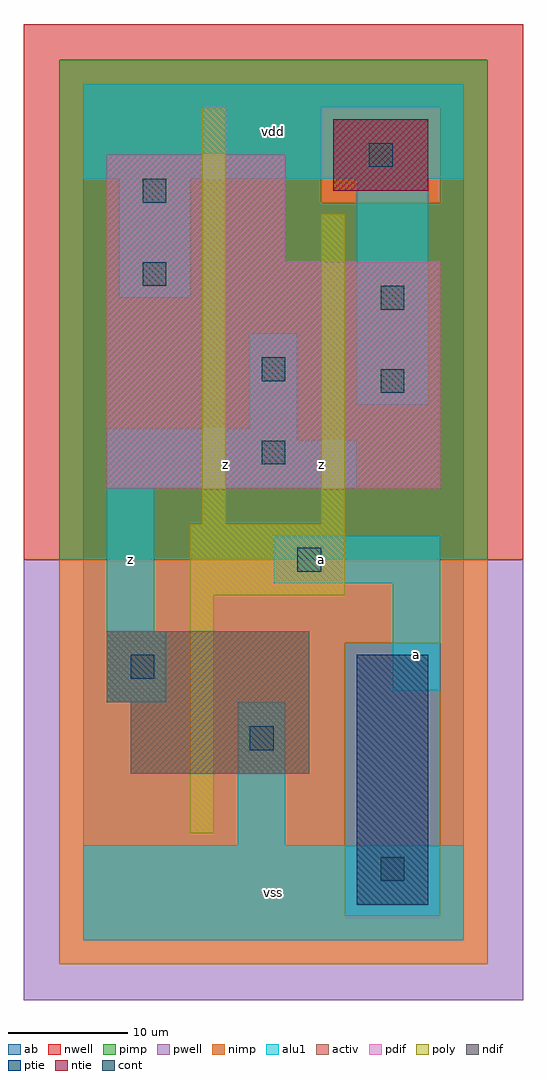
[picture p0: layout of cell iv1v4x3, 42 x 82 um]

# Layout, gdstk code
import gdstk
lib = gdstk.Library(unit=1e-6, precision=1e-09)
def R(c, l, rs):  # rectangles x0, y0, x1, y1
    for r in rs: c.add(gdstk.rectangle(r[:2], r[2:], *l))
ndif = (3, 0)
pdif = (4, 0)
ntie = (5, 0)
ptie = (6, 0)
cont = (25, 0)
pwell = (41, 0)
nwell = (42, 0)
activ = (43, 0)
pimp = (44, 0)
nimp = (45, 0)
poly = (46, 0)
alu1 = (49, 0)
ab = (63, 0)

iv1v4x3 = lib.new_cell('iv1v4x3')
R(iv1v4x3, ndif, [(4,14,19,20), (2,20,19,26)])
R(iv1v4x3, pdif, [(2,38,30,57), (2,57,17,66)])
R(iv1v4x3, ntie, [(21,63,29,69)])
R(iv1v4x3, ptie, [(23,3,29,24)])
R(iv1v4x3, cont, [(25,5,27,7), (14,16,16,18), (4,22,6,24), (18,31,20,33), (15,40,17,42), (25,46,27,48), (15,47,17,49), (25,53,27,55), (5,55,7,57), (5,62,7,64), (24,65,26,67)])
R(iv1v4x3, pwell, [(-5,-5,37,32)])
R(iv1v4x3, nwell, [(-5,32,37,77)])
R(iv1v4x3, activ, [(23,3,29,24), (4,14,19,20), (2,20,19,26), (2,38,30,57), (2,57,17,66), (21,63,29,69)])
R(iv1v4x3, pimp, [(22,2,30,25), (-2,32,34,62), (-2,62,20,70), (30,62,34,70), (-2,70,34,74)])
R(iv1v4x3, nimp, [(-2,-2,34,2), (-2,2,22,25), (30,2,34,25), (-2,25,34,32), (20,62,30,70)])
R(iv1v4x3, poly, [(9,9,11,29), (9,29,22,35), (10,35,12,70), (20,35,22,61)])
R(iv1v4x3, alu1, [(0,0,32,8), (13,8,17,20), (2,20,7,26), (26,21,30,30), (2,26,6,38), (16,30,30,34), (2,38,23,42), (2,42,18,43), (14,43,18,51), (23,45,29,64), (3,54,9,64), (0,64,32,72)])
R(iv1v4x3, ab, [(0,0,32,72)])
iv1v4x3.add(gdstk.Label('z', (4,32), layer=49, texttype=0))
iv1v4x3.add(gdstk.Label('z', (12,40), layer=49, texttype=0))
iv1v4x3.add(gdstk.Label('vss', (16,4), layer=49, texttype=0))
iv1v4x3.add(gdstk.Label('a', (20,32), layer=49, texttype=0))
iv1v4x3.add(gdstk.Label('z', (20,40), layer=49, texttype=0))
iv1v4x3.add(gdstk.Label('vdd', (16,68), layer=49, texttype=0))
iv1v4x3.add(gdstk.Label('a', (28,24), layer=49, texttype=0))

lib.write_gds('iv1v4x3.gds')
